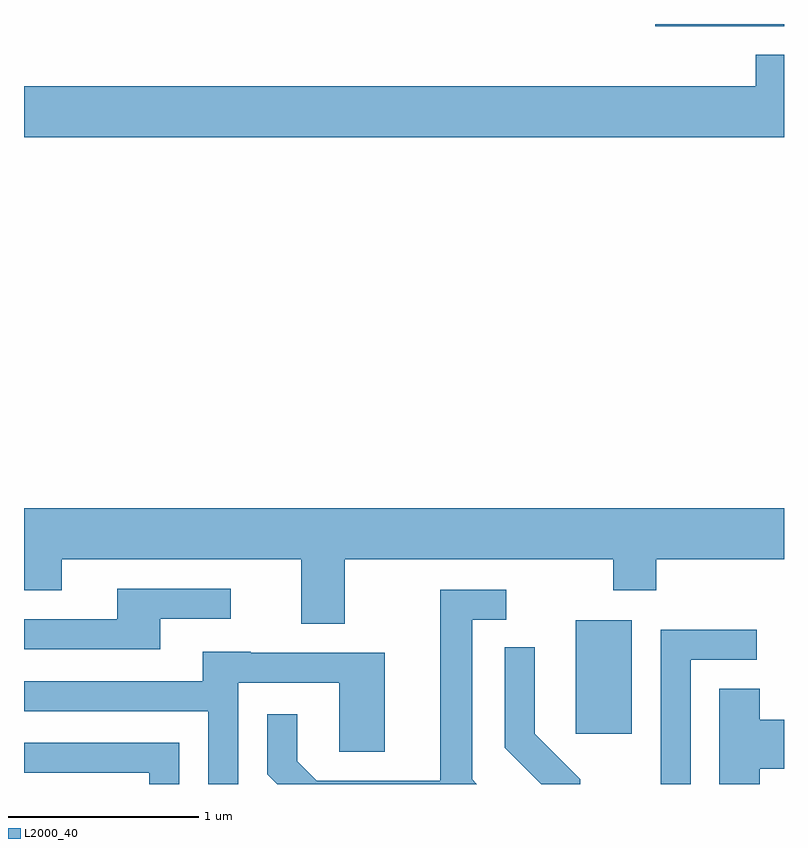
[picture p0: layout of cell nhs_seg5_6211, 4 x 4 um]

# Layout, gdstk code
import gdstk
lib = gdstk.Library(unit=1e-6, precision=1e-09)
def R(c, l, rs):  # rectangles x0, y0, x1, y1
    for r in rs: c.add(gdstk.rectangle(r[:2], r[2:], *l))
def P(c, l, *ps):  # polygons
    for p in ps: c.add(gdstk.Polygon(p, *l))
L2000_40 = (2000, 40)

nhs_seg5_6211 = lib.new_cell('nhs_seg5_6211')
R(nhs_seg5_6211, L2000_40, [(372.516,1440.336,372.809,1440.934), (372.933,1444.061,373.611,1444.072)])
P(nhs_seg5_6211, L2000_40, [(373.611,1443.909),(373.461,1443.909),(373.461,1443.744),(369.611,1443.744),(369.611,1443.476),(373.611,1443.476)],
  [(371.299,1441.256),(372.711,1441.256),(372.711,1441.091),(372.939,1441.091),(372.939,1441.256),(373.611,1441.256),(373.611,1441.524),(369.611,1441.524),(369.611,1441.091),(369.809,1441.091),(369.809,1441.256),(371.071,1441.256),(371.071,1440.916),(371.299,1440.916)],
  [(370.329,1440.941),(370.698,1440.941),(370.698,1441.099),(370.101,1441.099),(370.101,1440.939),(369.611,1440.939),(369.611,1440.781),(370.329,1440.781)],
  [(371.969,1440.097),(371.969,1440.936),(372.148,1440.936),(372.148,1441.094),(371.801,1441.094),(371.801,1440.089),(371.152,1440.089),(371.049,1440.192),(371.049,1440.438),(370.891,1440.438),(370.891,1440.124),(370.943,1440.072),(371.994,1440.072)],
  [(373.119,1440.726),(373.468,1440.726),(373.468,1440.884),(372.961,1440.884),(372.961,1440.072),(373.119,1440.072)],
  [(372.539,1440.097),(372.299,1440.337),(372.299,1440.793),(372.141,1440.793),(372.141,1440.264),(372.333,1440.072),(372.539,1440.072)],
  [(370.739,1440.606),(371.271,1440.606),(371.271,1440.241),(371.509,1440.241),(371.509,1440.764),(370.805,1440.764),(370.805,1440.769),(370.551,1440.769),(370.551,1440.614),(369.611,1440.614),(369.611,1440.456),(370.581,1440.456),(370.581,1440.072),(370.739,1440.072)],
  [(373.484,1440.151),(373.611,1440.151),(373.611,1440.409),(373.484,1440.409),(373.484,1440.574),(373.271,1440.574),(373.271,1440.072),(373.484,1440.072)],
  [(370.429,1440.289),(369.611,1440.289),(369.611,1440.131),(370.271,1440.131),(370.271,1440.072),(370.429,1440.072)])

lib.write_gds('nhs_seg5_6211.gds')
